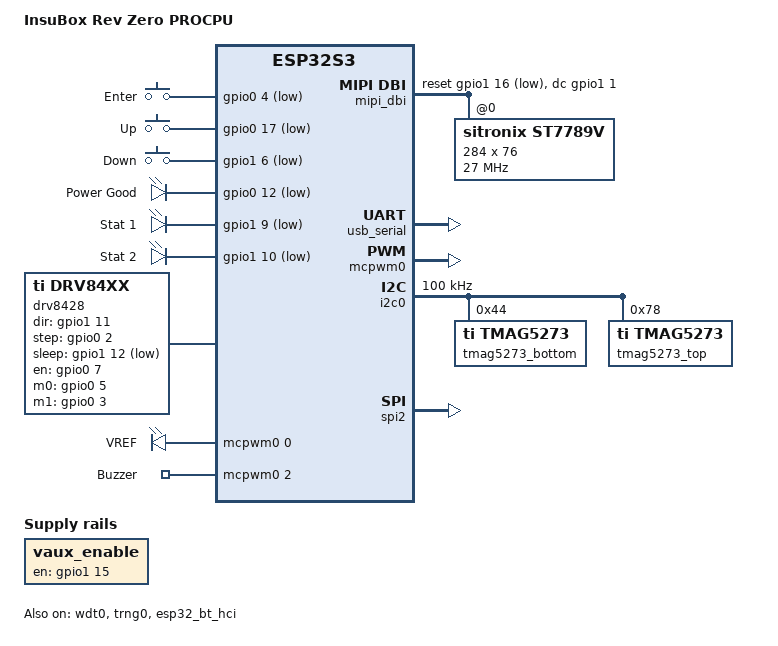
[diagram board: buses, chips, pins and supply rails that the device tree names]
/dts-v1/;

#include <espressif/esp32s3/esp32s3_wroom_n8.dtsi>
#include <zephyr/dt-bindings/input/input-event-codes.h>
#include <zephyr/dt-bindings/lvgl/lvgl.h>
#include <zephyr/dt-bindings/pwm/pwm.h>
#include <zephyr/dt-bindings/mipi_dbi/mipi_dbi.h>
#include <zephyr/dt-bindings/sensor/tmag5273.h>
#include <espressif/partitions_0x0_amp.dtsi>
#include "insubox_rev_zero-pinctrl.dtsi"

/ {
	model = "InsuBox Rev Zero PROCPU";
	compatible = "espressif,esp32s3";
	
	chosen {
		zephyr,sram = &sram1;
		zephyr,console = &usb_serial;
		zephyr,shell-uart = &usb_serial;
		zephyr,flash = &flash0;
		zephyr,code-partition = &slot0_partition;
		zephyr,display = &st7789v;
		zephyr,bt-hci = &esp32_bt_hci;
	};
	
	aliases {
		i2c-0 = &i2c0;
		watchdog0 = &wdt0;
		
		sw0 = &button_enter;
		
		chrg-pg = &chrg_pg;
		chrg-stat1 = &chrg_stat1;
		chrg-stat2 = &chrg_stat2;
		
		pwm-step-vref = &pwm_step_vref;
		pwm-buzzer = &pwm_buzzer;
		mag-bottom = &tmag5273_bottom;
		mag-top = &tmag5273_top;
		
		stepper = &drv8428;
	};
	
	keys: keys {
		compatible = "gpio-keys";
		button_enter: button_enter {
			gpios = <&gpio0 4 (GPIO_PULL_UP | GPIO_ACTIVE_LOW)>;
			label = "Enter";
			zephyr,code = <INPUT_KEY_ENTER>;
		};
		button_up: button_up {
			gpios = <&gpio0 17 (GPIO_PULL_UP | GPIO_ACTIVE_LOW)>;
			label = "Up";
			zephyr,code = <INPUT_KEY_UP>;
		};
		button_down: button_down {
			gpios = <&gpio1 6 (GPIO_PULL_UP | GPIO_ACTIVE_LOW)>;// GPIO 38
			label = "Down";
			zephyr,code = <INPUT_KEY_DOWN>;
		};
	};
	
	charg_status {
		compatible = "gpio-leds";
		chrg_pg: chrg_pg {
			gpios = <&gpio0 12 (GPIO_PULL_UP | GPIO_ACTIVE_LOW)>;// GPIO 12
			label = "Power Good";
		};
		chrg_stat1: stat1 {
			gpios = <&gpio1 9 (GPIO_PULL_UP | GPIO_ACTIVE_LOW)>;// GPIO 41
			label = "Stat 1";
		};
		chrg_stat2: stat2 {
			gpios = <&gpio1 10 (GPIO_PULL_UP | GPIO_ACTIVE_LOW)>;// GPIO 42
			label = "Stat 2";
		};
	};
	
	vaux_enable: vaux_enable {
		compatible = "regulator-fixed";
		regulator-name = "vaux_enable";
		enable-gpios = <&gpio1 15 GPIO_ACTIVE_HIGH>;
		regulator-boot-on;
	};
	
	lvgl_keypad_input {
		compatible = "zephyr,lvgl-keypad-input";
		input = <&keys>;
		input-codes = <INPUT_KEY_UP INPUT_KEY_DOWN INPUT_KEY_ENTER>;
		lvgl-codes = <LV_KEY_RIGHT LV_KEY_LEFT LV_KEY_ENTER>;
	};
	
	drv8428: drv8428 {
		status = "okay";
		compatible = "ti,drv84xx";
		
		dir-gpios = <&gpio1 11 0>;// GPIO 43
		step-gpios = <&gpio0 2 0>;
		sleep-gpios = <&gpio1 12 (GPIO_ACTIVE_LOW)>;// GPIO 44
		en-gpios  = <&gpio0 7 0>;
		m0-gpios = <&gpio0 5 0>;
		m1-gpios = <&gpio0 3 0>;
		// TODO: Check in new zephyr version if support for countertop is added to esp32 driver
		// counter = <&timer0>;
		
		#address-cells = <1>;
		#size-cells = <0>;
		#stepper-motor-cells = <0>;
	};
	
	pwms {
		compatible = "pwm-leds";
		pwm_step_vref: pwm_gpio0_8 {
			label = "VREF";
			pwms = <&mcpwm0 0 0 PWM_POLARITY_NORMAL>;
		};
		pwm_buzzer: pwm_gpio0_16 {
			label = "Buzzer";
			pwms = <&mcpwm0 2 0 PWM_POLARITY_NORMAL>;
		};
	};
	
	mipi_dbi {
		compatible = "zephyr,mipi-dbi-spi";
		spi-dev = <&spi2>;
		dc-gpios = <&gpio1 1 GPIO_ACTIVE_HIGH>;
		reset-gpios = <&gpio1 16 GPIO_ACTIVE_LOW>;
		write-only;
		#address-cells = <1>;
		#size-cells = <0>;
		
		st7789v: st7789v@0 {
			compatible = "sitronix,st7789v";
			inversion-off;
			
			reg = <0>;
			mipi-max-frequency = <27000000>;
			
			width = <284>;
			height = <76>;
			x-offset = <18>;
			y-offset = <82>;
			
			vcom = <0x2b>;
			gctrl = <0x35>;
			vrhs = <0x0f>;
			vdvs = <0x20>;
			mdac = <0x60>;
			gamma = <0x01>;
			colmod = <0x55>;
			lcm = <0x2c>;
			porch-param = [0c 0c 00 33 33];
			cmd2en-param = [5a 69 02 01];
			pwctrl1-param = [52 a1];
			pvgam-param = [D0 00 02 07 0B 1A 35 32 4A 29 12 12 12 17];
			nvgam-param = [D0 00 02 07 05 15 3E 33 5C 1C 18 16 1C 1D];
			ram-param = [00 F8];
			rgb-param = [CD 08 14];
			mipi-mode = "MIPI_DBI_MODE_SPI_4WIRE";
		};
	};
};

&usb_serial {
	status = "okay";
};

&gpio0 {
	status = "okay";
};

&gpio1 {
	status = "okay";
};

&mcpwm0 {
	pinctrl-0 = <&mcpwm0_default>;
	pinctrl-names = "default";
	prescale = <10>;
	prescale-timer0 = <10>;
	prescale-timer1 = <10>;
	status = "okay";
};

&uart0 {
	status = "disabled";
};

&i2c0 {
	status = "okay";
	clock-frequency = <I2C_BITRATE_STANDARD>;
	pinctrl-0 = <&i2c0_default>;
	pinctrl-names = "default";
	
	// U3 - TMAG5273_D1
	tmag5273_bottom: tmag5273@44 {
		compatible = "ti,tmag5273";
		reg = <0x44>;
		label = "tmag5273_bottom";
		operation-mode = <TMAG5273_DT_OPER_MODE_CONTINUOUS>;
		angle-magnitude-axis = <TMAG5273_DT_ANGLE_MAG_XY>;
	};
	
	tmag5273_top: tmag5273@78 {
		compatible = "ti,tmag5273";
		reg = <0x78>;
		label = "tmag5273_top";
		operation-mode = <TMAG5273_DT_OPER_MODE_CONTINUOUS>;
		angle-magnitude-axis = <TMAG5273_DT_ANGLE_MAG_XY>;
	};
};

&spi2 {
	#address-cells = <1>;
	#size-cells = <0>;
	status = "okay";
	pinctrl-0 = <&spim2_default>;
	pinctrl-names = "default";
};

&timer0 {
	status = "disabled";
};

&timer1 {
	status = "disabled";
};

&timer2 {
	status = "disabled";
};

&timer3 {
	status = "disabled";
};

&wdt0 {
	status = "okay";
};

&trng0 {
	status = "okay";
};

&esp32_bt_hci {
	status = "okay";
};
